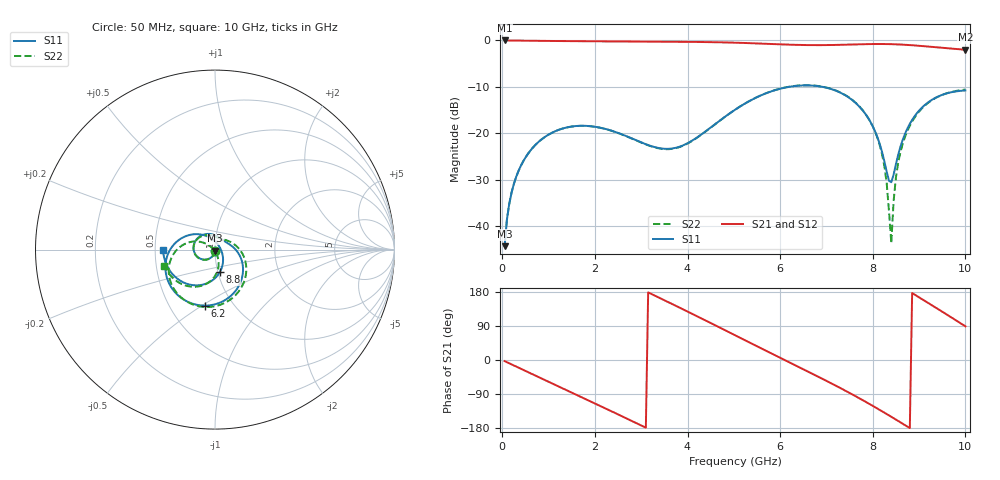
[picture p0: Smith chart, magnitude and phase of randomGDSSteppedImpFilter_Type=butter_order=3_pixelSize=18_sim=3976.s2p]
! freq	dB(S11)	phase(S11)	dB(S12)	phase(S12)
!  dB(S21)	phase(S21)	dB(S22)	phase(S22)
!S-par simulation data
#  GHz  S  DB  R 50
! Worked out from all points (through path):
!   200 points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, 50 MHz to 10 GHz, reference 50 ohm
!   highest |S21| = -0.01 dB at 50 MHz (marker M1); lowest = -2.0 dB at 10 GHz (marker M2)
!   group delay of S21, straight-line fit = 172 ps
!   lowest |S11| = -44.3 dB at 50 MHz (marker M3), VSWR 1.01, Z = 50 - j0.613 ohm
!   |S11| at or under -10 dB: start of sweep to 6.185 GHz; 6.921 GHz to end of sweep
!   |S22| runs from -44.3 to -9.6 dB; largest |S21 - S12| = 0
!   S11 on the Smith chart (normalised r, x): 50 MHz: 1.00, -0.01; 6.2 GHz: 0.74, -0.51; 8.8 GHz: 1.02, -0.26; 10 GHz: 0.55, -0.00
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0.05  -44.25 -87.8  -0.01 -2.9  -0.01 -2.9  -44.25 -87.7
0.2  -32.73 -101.0  -0.02 -11.6  -0.02 -11.6  -32.73 -100.7
0.5  -25.19 -119.6  -0.05 -28.8  -0.05 -28.8  -25.20 -118.9
1.15  -19.50 -157.9  -0.13 -66.1  -0.13 -66.1  -19.50 -156.1
1.75  -18.36 166.9  -0.18 -100.3  -0.18 -100.3  -18.37 170.3
2.65  -20.47 112.4  -0.22 -152.3  -0.22 -152.3  -20.49 120.6
3.4  -23.19 63.9  -0.26 163.7  -0.26 163.7  -23.26 79.5
4.3  -20.21 10.7  -0.34 109.8  -0.34 109.8  -20.26 25.5
5.05  -14.75 -31.8  -0.49 63.9  -0.49 63.9  -14.75 -21.9
5.65  -11.55 -67.2  -0.71 27.1  -0.71 27.1  -11.53 -59.0
6.2  -9.97 -100.3  -0.92 -6.3  -0.92 -6.3  -9.95 -92.4
6.7  -9.71 -131.0  -1.01 -36.6  -1.01 -36.6  -9.68 -122.3
7.35  -11.49 -173.3  -0.94 -77.2  -0.94 -77.2  -11.44 -161.9
7.9  -16.69 144.2  -0.79 -114.0  -0.79 -114.0  -16.66 163.6
8.2  -23.97 106.7  -0.77 -135.3  -0.77 -135.3  -24.46 146.7
8.35  -30.18 51.9  -0.79 -146.2  -0.79 -146.2  -36.71 155.6
8.4  -30.50 18.8  -0.81 -149.9  -0.81 -149.9  -43.62 -123.5
8.45  -28.86 -9.8  -0.82 -153.6  -0.82 -153.6  -34.54 -75.4
8.55  -24.54 -42.0  -0.86 -161.0  -0.86 -161.0  -26.24 -70.6
8.8  -17.94 -77.3  -1.00 -179.6  -1.00 -179.6  -18.35 -83.7
9.45  -11.89 -134.2  -1.55 131.3  -1.55 131.3  -11.92 -126.6
10  -10.76 -179.6  -2.01 88.8  -2.01 88.8  -10.57 -162.4
